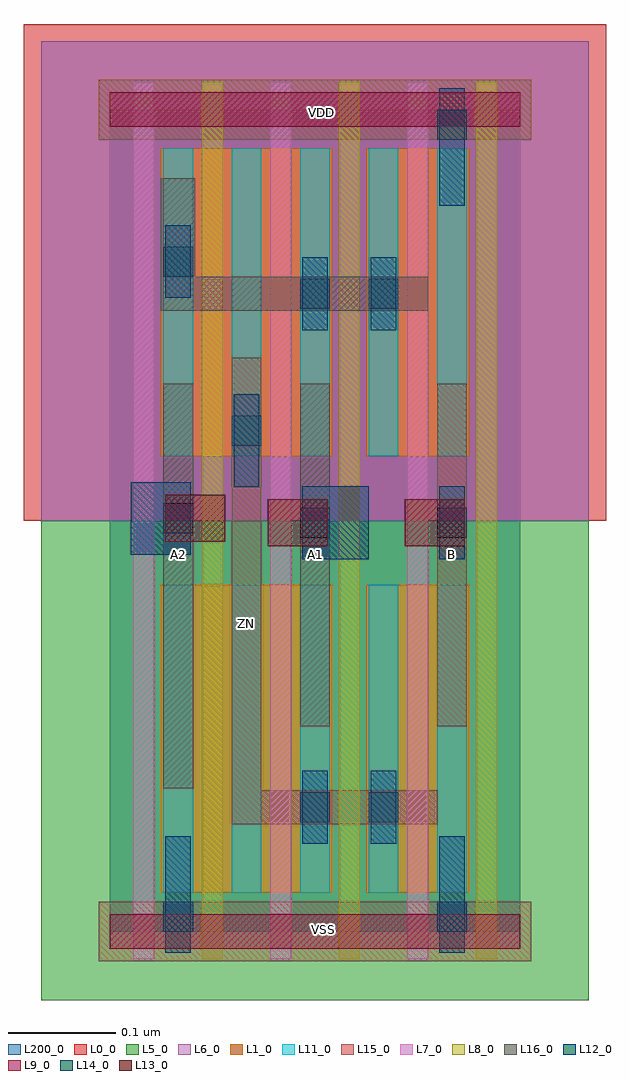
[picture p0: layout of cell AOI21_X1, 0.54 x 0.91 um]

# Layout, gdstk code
import gdstk
lib = gdstk.Library(unit=1e-6, precision=1e-09)
def R(c, l, rs):  # rectangles x0, y0, x1, y1
    for r in rs: c.add(gdstk.rectangle(r[:2], r[2:], *l))
def A(c, l, x, y, w, h, nx, ny, dx, dy):  # array of equal rectangles
    R(c, l, [(x+i*dx, y+j*dy, x+i*dx+w, y+j*dy+h) for i in range(nx) for j in range(ny)])
def P(c, l, *ps):  # polygons
    for p in ps: c.add(gdstk.Polygon(p, *l))
L0_0 = (0, 0)
L1_0 = (1, 0)
L5_0 = (5, 0)
L6_0 = (6, 0)
L7_0 = (7, 0)
L8_0 = (8, 0)
L9_0 = (9, 0)
L11_0 = (11, 0)
L12_0 = (12, 0)
L13_0 = (13, 0)
L14_0 = (14, 0)
L15_0 = (15, 0)
L16_0 = (16, 0)
L200_0 = (200, 0)

aoi21_x1 = lib.new_cell('AOI21_X1')
R(aoi21_x1, L0_0, [(-0.08,0.384,0.464,0.848)])
R(aoi21_x1, L1_0, [(0.048,0.036,0.208,0.324), (0.24,0.036,0.336,0.324), (0.048,0.444,0.208,0.732), (0.24,0.444,0.336,0.732)])
R(aoi21_x1, L5_0, [(-0.064,-0.064,0.448,0.384)])
R(aoi21_x1, L6_0, [(-0.064,0.384,0.448,0.832)])
A(aoi21_x1, L7_0, 0.022, -0.026, 0.02, 0.82, 3, 1, 0.128, 0)
A(aoi21_x1, L8_0, 0.086, -0.026, 0.02, 0.82, 3, 1, 0.128, 0)
R(aoi21_x1, L9_0, [(0,-0.016,0.384,0.016), (0,0.752,0.384,0.784)])
A(aoi21_x1, L11_0, 0.05, 0.036, 0.028, 0.288, 5, 2, 0.064, 0.408)
R(aoi21_x1, L12_0, [(0.052,-0.02,0.076,0.089), (0.308,-0.02,0.332,0.089), (0.18,0.082,0.204,0.15), (0.244,0.082,0.268,0.15), (0.18,0.348,0.242,0.416), (0.308,0.348,0.332,0.416), (0.02,0.352,0.076,0.42), (0.116,0.415,0.14,0.502), (0.18,0.562,0.204,0.63), (0.244,0.562,0.268,0.63), (0.052,0.592,0.076,0.66), (0.308,0.678,0.332,0.788)])
R(aoi21_x1, L13_0, [(0.148,0.36,0.204,0.404), (0.276,0.36,0.332,0.404), (0.052,0.364,0.108,0.408)])
R(aoi21_x1, L14_0, [(0.05,0,0.078,0.028), (0.306,0,0.334,0.028), (0.178,0.102,0.206,0.13), (0.242,0.102,0.27,0.13), (0.178,0.368,0.206,0.396), (0.306,0.368,0.334,0.396), (0.05,0.372,0.078,0.4), (0.114,0.454,0.142,0.482), (0.178,0.582,0.206,0.61), (0.242,0.582,0.27,0.61), (0.05,0.612,0.078,0.64), (0.306,0.74,0.334,0.768)])
R(aoi21_x1, L15_0, [(-0.01,-0.028,0.394,0.028), (0.306,0.192,0.334,0.512), (-0.01,0.74,0.394,0.796)])
P(aoi21_x1, L15_0, [(0.114,0.1),(0.306,0.1),(0.306,0.132),(0.142,0.132),(0.142,0.536),(0.114,0.536)])
R(aoi21_x1, L16_0, [(0.05,0.134,0.078,0.512), (0.178,0.192,0.206,0.512)])
P(aoi21_x1, L16_0, [(0.048,0.58),(0.298,0.58),(0.298,0.612),(0.08,0.612),(0.08,0.704),(0.048,0.704)])
R(aoi21_x1, L200_0, [(0,0,0.384,0.768)])
aoi21_x1.add(gdstk.Label('VSS', (0.2,0.002), layer=15, texttype=20))
aoi21_x1.add(gdstk.Label('ZN', (0.128,0.288), layer=15, texttype=20))
aoi21_x1.add(gdstk.Label('B', (0.32,0.352), layer=15, texttype=20))
aoi21_x1.add(gdstk.Label('VDD', (0.198,0.765), layer=15, texttype=20))
aoi21_x1.add(gdstk.Label('A2', (0.064,0.352), layer=16, texttype=20))
aoi21_x1.add(gdstk.Label('A1', (0.192,0.352), layer=16, texttype=20))

lib.write_gds('AOI21_X1.gds')
